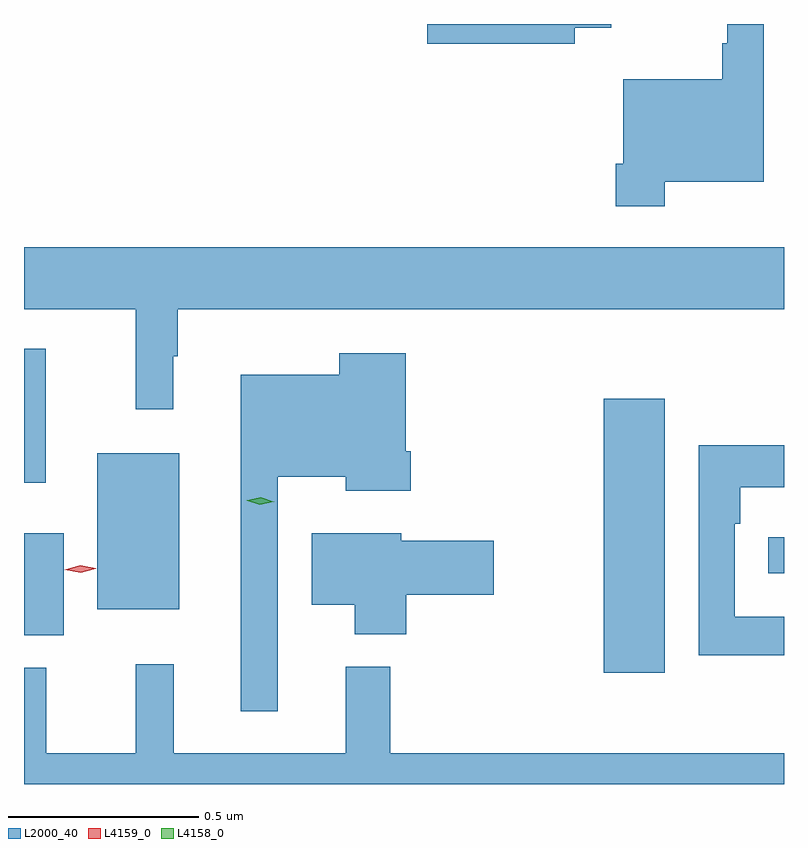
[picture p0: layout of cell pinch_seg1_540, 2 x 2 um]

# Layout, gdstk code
import gdstk
lib = gdstk.Library(unit=1e-6, precision=1e-09)
def R(c, l, rs):  # rectangles x0, y0, x1, y1
    for r in rs: c.add(gdstk.rectangle(r[:2], r[2:], *l))
def P(c, l, *ps):  # polygons
    for p in ps: c.add(gdstk.Polygon(p, *l))
L2000_40 = (2000, 40)
L4158_0 = (4158, 0)
L4159_0 = (4159, 0)

pinch_seg1_540 = lib.new_cell('pinch_seg1_540')
R(pinch_seg1_540, L2000_40, [(1074.668,524.136,1074.829,524.857), (1073.143,524.234,1073.248,524.503), (1073.336,524.303,1073.551,524.713), (1075.101,524.397,1075.143,524.493), (1073.143,524.636,1073.2,524.989)])
P(pinch_seg1_540, L2000_40, [(1074.592,525.833),(1074.688,525.833),(1074.688,525.843),(1074.204,525.843),(1074.204,525.791),(1074.592,525.791)],
  [(1074.829,525.428),(1075.09,525.428),(1075.09,525.843),(1074.993,525.843),(1074.993,525.793),(1074.981,525.793),(1074.981,525.697),(1074.72,525.697),(1074.72,525.475),(1074.7,525.475),(1074.7,525.363),(1074.829,525.363)],
  [(1073.536,524.969),(1073.548,524.969),(1073.548,525.092),(1075.143,525.092),(1075.143,525.256),(1073.143,525.256),(1073.143,525.092),(1073.437,525.092),(1073.437,524.829),(1073.536,524.829)],
  [(1073.811,524.651),(1073.99,524.651),(1073.99,524.615),(1074.161,524.615),(1074.161,524.719),(1074.148,524.719),(1074.148,524.977),(1073.973,524.977),(1073.973,524.92),(1073.714,524.92),(1073.714,524.034),(1073.811,524.034)],
  [(1075.143,524.283),(1075.014,524.283),(1075.014,524.528),(1075.028,524.528),(1075.028,524.624),(1075.143,524.624),(1075.143,524.734),(1074.918,524.734),(1074.918,524.182),(1075.143,524.182)],
  [(1074.149,524.341),(1074.379,524.341),(1074.379,524.483),(1074.136,524.483),(1074.136,524.503),(1073.9,524.503),(1073.9,524.315),(1074.014,524.315),(1074.014,524.237),(1074.149,524.237)],
  [(1075.143,523.924),(1074.107,523.924),(1074.107,524.152),(1073.99,524.152),(1073.99,523.924),(1073.537,523.924),(1073.537,524.158),(1073.437,524.158),(1073.437,523.924),(1073.202,523.924),(1073.202,524.149),(1073.143,524.149),(1073.143,523.843),(1075.143,523.843)])
P(pinch_seg1_540, L4158_0, [(1073.764,524.578),(1073.73,524.589),(1073.729,524.59),(1073.73,524.59),(1073.766,524.598),(1073.8,524.586),(1073.801,524.586),(1073.8,524.586)])
P(pinch_seg1_540, L4159_0, [(1073.292,524.399),(1073.25,524.407),(1073.25,524.407),(1073.25,524.407),(1073.291,524.419),(1073.332,524.411),(1073.332,524.411),(1073.332,524.41)])

lib.write_gds('pinch_seg1_540.gds')
